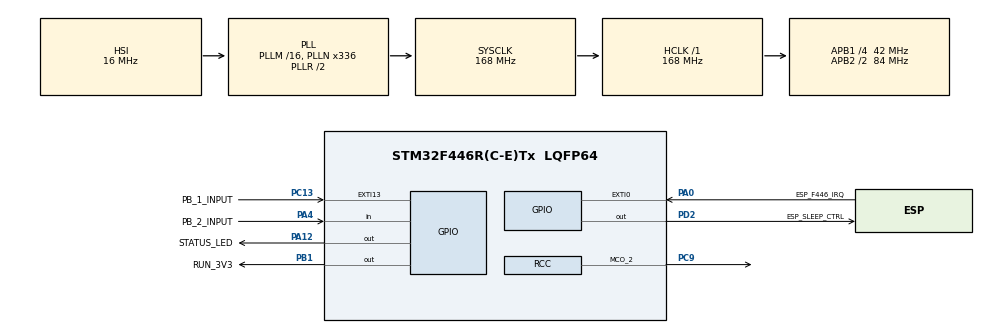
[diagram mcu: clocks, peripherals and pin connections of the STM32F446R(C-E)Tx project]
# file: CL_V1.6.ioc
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ADC1.Channel-0\#ChannelRegularConversion=ADC_CHANNEL_VBAT
ADC1.NbrOfConversionFlag=1
ADC1.Rank-0\#ChannelRegularConversion=1
ADC1.SamplingTime-0\#ChannelRegularConversion=ADC_SAMPLETIME_3CYCLES
ADC1.master=1
Mcu.Family=STM32F4
Mcu.Name=STM32F446R(C-E)Tx
Mcu.Package=LQFP64
NVIC.EXTI0_IRQn=true\:0\:0\:false\:false\:true\:true\:true\:true
NVIC.EXTI15_10_IRQn=true\:0\:0\:false\:false\:true\:true\:true\:true
NVIC.PriorityGroup=NVIC_PRIORITYGROUP_4
NVIC.RTC_WKUP_IRQn=true\:0\:0\:false\:false\:true\:true\:true\:true
NVIC.TIM2_IRQn=true\:0\:0\:false\:false\:true\:true\:true\:true
PA0-WKUP.GPIO_Label=ESP_F446_IRQ
PA0-WKUP.Signal=GPXTI0
PA12.GPIO_Label=STATUS_LED
PA12.Signal=GPIO_Output
PA13.GPIO_Label=TMS
PA13.Mode=Trace_Asynchronous_SW
PA13.Signal=SYS_JTMS-SWDIO
PA14.GPIO_Label=TCK
PA14.Mode=Trace_Asynchronous_SW
PA14.Signal=SYS_JTCK-SWCLK
PA4.GPIO_Label=PB_2_INPUT
PA4.Signal=GPIO_Input
PB1.GPIO_Label=RUN_3V3
PB1.Signal=GPIO_Output
PB3.Mode=Trace_Asynchronous_SW
PB3.Signal=SYS_JTDO-SWO
PB6.Signal=I2C1_SCL
PB7.Signal=I2C1_SDA
PC13.GPIO_Label=PB_1_INPUT
PC13.GPIO_ModeDefaultEXTI=GPIO_MODE_IT_RISING_FALLING
PC13.GPIO_PuPd=GPIO_PULLDOWN
PC13.Signal=GPXTI13
PC9.Mode=Clock-out-2
PC9.Signal=RCC_MCO_2
PD2.GPIO_Label=ESP_SLEEP_CTRL
PD2.GPIO_Speed=GPIO_SPEED_FREQ_HIGH
PD2.Signal=GPIO_Output
PDM2PCM.CHANNEL1_endianness=PDM_FILTER_ENDIANNESS_LE
PDM2PCM.CHANNEL1_high_pass_tap=2122358088
PDM2PCM.CHANNEL2_endianness=PDM_FILTER_ENDIANNESS_LE
PDM2PCM.CHANNEL2_high_pass_tap=2122358088
PDM2PCM.NbCHANNEL=2
ProjectManager.HeapSize=0x5000
ProjectManager.StackSize=0x10000
ProjectManager.TargetToolchain=STM32CubeIDE
RCC.AHBFreq_Value=168000000
RCC.APB1CLKDivider=RCC_HCLK_DIV4
RCC.APB1Freq_Value=42000000
RCC.APB1TimFreq_Value=84000000
RCC.APB2CLKDivider=RCC_HCLK_DIV2
RCC.APB2Freq_Value=84000000
RCC.APB2TimFreq_Value=168000000
RCC.CortexFreq_Value=168000000
RCC.HCLKFreq_Value=168000000
RCC.HSE_VALUE=8000000
RCC.PLLI2SN=258
RCC.PLLI2SR=6
RCC.PLLN=336
RCC.PLLSAIM=32
RCC.PLLSAIN=344
RCC.PLLSAIQ=7
RCC.PLLSAIQDiv=2
RCC.RCC_MCO2Source=RCC_MCO2SOURCE_PLLI2SCLK
RCC.RCC_MCODiv2=RCC_MCODIV_2
RCC.SYSCLKFreq_VALUE=168000000
RCC.SYSCLKSource=RCC_SYSCLKSOURCE_PLLRCLK
RCC.USBFreq_Value=168000000
RCC.VCOOutputFreq_Value=336000000
TIM2.ClockDivision=TIM_CLOCKDIVISION_DIV1
TIM2.Period=100000
TIM2.Prescaler=4199
TIM2.TIM_MasterOutputTrigger=TIM_TRGO_ENABLE
VP_ADC1_Vbat_Input.Mode=IN-Vbat
VP_CRC_VS_CRC.Mode=CRC_Activate
VP_PDM2PCM_VS_PDM2PCM.Mode=PDM2PCM_Channel
VP_RTC_VS_RTC_Activate.Mode=RTC_Enabled
VP_RTC_VS_RTC_WakeUp_intern.Mode=WakeUp
VP_TIM2_VS_ClockSourceINT.Mode=Internal
board=custom

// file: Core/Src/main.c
/* USER CODE BEGIN Header */
/**
  ******************************************************************************
  * @file           : main.c
  * @brief          : Main program body
  ******************************************************************************
  * @attention
  *
  * Copyright (c) 2024 STMicroelectronics.
  * All rights reserved.
  *
  * This software is licensed under terms that can be found in the LICENSE file
  * in the root directory of this software component.
  * If no LICENSE file comes with this software, it is provided AS-IS.
  *
  ******************************************************************************
  */
/* USER CODE END Header */
#include "main.h"
#include "adc.h"
#include "crc.h"
#include "pdm2pcm.h"
#include "rtc.h"
#include "tim.h"
#include "gpio.h"

/* USER CODE BEGIN Includes */
#include "../../AudioIn/inc/audio_in.h"
#include "opus_init.h"
#include "audioBF.h"
#include "SDR.h"
#include "ESP_link.h"
#include "comlink_control.h"
#include "PCM1774_CODEC_Driver.h"
/* USER CODE END Includes */

/* USER CODE BEGIN PV */
uint16_t IRQ = 0;
extern volatile PowerState_t gPowerState;   // from gpio.c

/* USER CODE END PV */

void SystemClock_Config(void);
void PeriphCommonClock_Config(void);

int main(void)
{

  /* MCU Configuration--------------------------------------------------------*/

  /* Reset of all peripherals, Initializes the Flash interface and the Systick. */
  HAL_Init();

  /* Configure the system clock */
  SystemClock_Config();

  /* Configure the peripherals common clocks */
  PeriphCommonClock_Config();

  /* USER CODE BEGIN SysInit */
  //HAL_PWR_DisableWakeUpPin(PWR_WAKEUP_PIN1);
  /* USER CODE END SysInit */

  /* Initialize all configured peripherals */
  MX_GPIO_Init();
  MX_CRC_Init();
  MX_PDM2PCM_Init();
  MX_TIM2_Init();
  MX_RTC_Init();
  MX_ADC1_Init();
  /* USER CODE BEGIN 2 */
  //Wait to see if the button is held long enout to turn on
  Run_Enable_On();

  TIM2->SR = 0;   // Set tim2 Status Register to 0 to avoid immediate IRQ

  ESP_SPI_Init();
  ESP_RST();

  /* initialise AcousticBF SW interrupts */
  SW_IRQ_BF_Tasks_Init();
  /* initialise AcousticBF */
  BF_Init();

  SDR_Init(PCM_BUFFER_IN_LEN);

  /* initialise Opus profile */
  Opus_Profile_Init();

  Start_Audio_In();
  Start_Audio_Out();

  /* USER CODE END 2 */

  /* Infinite loop */
  /* USER CODE BEGIN WHILE */

  while (1)
  {
	  ESP_Process();

    /* USER CODE END WHILE */

  }
}

void SystemClock_Config(void)
{
  RCC_OscInitTypeDef RCC_OscInitStruct = {0};
  RCC_ClkInitTypeDef RCC_ClkInitStruct = {0};

  /** Configure the main internal regulator output voltage
  */
  __HAL_RCC_PWR_CLK_ENABLE();
  __HAL_PWR_VOLTAGESCALING_CONFIG(PWR_REGULATOR_VOLTAGE_SCALE1);

  /** Initializes the RCC Oscillators according to the specified parameters
  * in the RCC_OscInitTypeDef structure.
  */
  RCC_OscInitStruct.OscillatorType = RCC_OSCILLATORTYPE_HSI|RCC_OSCILLATORTYPE_LSI;
  RCC_OscInitStruct.LSEState = RCC_LSE_OFF;
  RCC_OscInitStruct.HSIState = RCC_HSI_ON;
  RCC_OscInitStruct.HSICalibrationValue = RCC_HSICALIBRATION_DEFAULT;
  RCC_OscInitStruct.LSIState = RCC_LSI_ON;
  RCC_OscInitStruct.PLL.PLLState = RCC_PLL_ON;
  RCC_OscInitStruct.PLL.PLLSource = RCC_PLLSOURCE_HSI;
  RCC_OscInitStruct.PLL.PLLM = 16;
  RCC_OscInitStruct.PLL.PLLN = 336;
  RCC_OscInitStruct.PLL.PLLP = RCC_PLLP_DIV2;
  RCC_OscInitStruct.PLL.PLLQ = 2;
  RCC_OscInitStruct.PLL.PLLR = 2;
  if (HAL_RCC_OscConfig(&RCC_OscInitStruct) != HAL_OK)
  {
    Error_Handler();
  }

  /** Initializes the CPU, AHB and APB buses clocks
  */
  RCC_ClkInitStruct.ClockType = RCC_CLOCKTYPE_HCLK|RCC_CLOCKTYPE_SYSCLK
                              |RCC_CLOCKTYPE_PCLK1|RCC_CLOCKTYPE_PCLK2;
  RCC_ClkInitStruct.SYSCLKSource = RCC_SYSCLKSOURCE_PLLRCLK;
  RCC_ClkInitStruct.AHBCLKDivider = RCC_SYSCLK_DIV1;
  RCC_ClkInitStruct.APB1CLKDivider = RCC_HCLK_DIV4;
  RCC_ClkInitStruct.APB2CLKDivider = RCC_HCLK_DIV2;

  if (HAL_RCC_ClockConfig(&RCC_ClkInitStruct, FLASH_LATENCY_5) != HAL_OK)
  {
    Error_Handler();
  }
  HAL_RCC_MCOConfig(RCC_MCO2, RCC_MCO2SOURCE_PLLI2SCLK, RCC_MCODIV_2);
}

void PeriphCommonClock_Config(void)
{
  RCC_PeriphCLKInitTypeDef PeriphClkInitStruct = {0};

  /** Initializes the peripherals clock
  */
  PeriphClkInitStruct.PeriphClockSelection = RCC_PERIPHCLK_PLLI2S;
  PeriphClkInitStruct.PLLI2S.PLLI2SN = 258;
  PeriphClkInitStruct.PLLI2S.PLLI2SP = RCC_PLLI2SP_DIV2;
  PeriphClkInitStruct.PLLI2S.PLLI2SM = 16;
  PeriphClkInitStruct.PLLI2S.PLLI2SR = 6;
  PeriphClkInitStruct.PLLI2S.PLLI2SQ = 2;
  PeriphClkInitStruct.PLLI2SDivQ = 1;
  if (HAL_RCCEx_PeriphCLKConfig(&PeriphClkInitStruct) != HAL_OK)
  {
    Error_Handler();
  }
}

void Error_Handler(void)
{
  /* USER CODE BEGIN Error_Handler_Debug */
  /* User can add his own implementation to report the HAL error return state */
  __disable_irq();
  while (1)
  {
	  Toggle_LED();
	  HAL_Delay(500);
  }
  /* USER CODE END Error_Handler_Debug */
}
